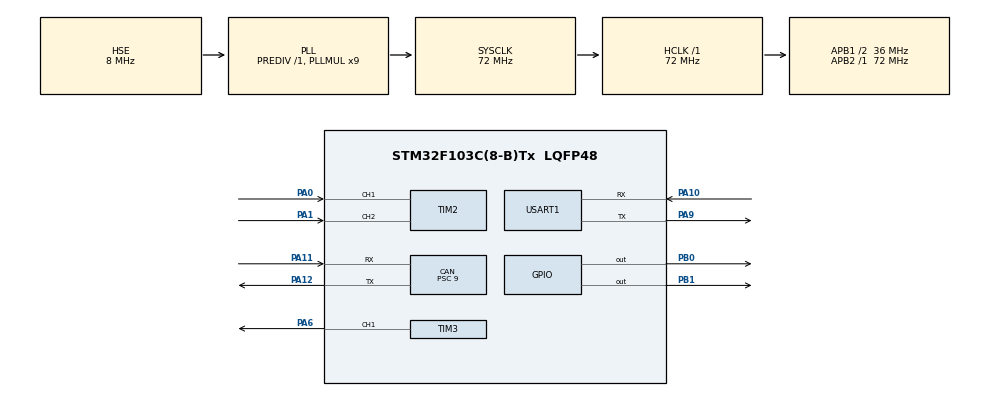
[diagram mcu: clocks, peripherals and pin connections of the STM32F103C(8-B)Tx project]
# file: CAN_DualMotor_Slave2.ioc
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CAN.ABOM=ENABLE
CAN.BS1=CAN_BS1_6TQ
CAN.CalculateBaudRate=500000
CAN.CalculateTimeBit=2000
CAN.CalculateTimeQuantum=250.0
CAN.NART=ENABLE
CAN.Prescaler=9
Mcu.Family=STM32F1
Mcu.Name=STM32F103C(8-B)Tx
Mcu.Package=LQFP48
NVIC.PriorityGroup=NVIC_PRIORITYGROUP_4
NVIC.TIM4_IRQn=true\:1\:0\:true\:false\:true\:true\:true\:true
NVIC.USART1_IRQn=true\:0\:0\:false\:false\:true\:true\:true\:true
NVIC.USB_LP_CAN1_RX0_IRQn=true\:0\:0\:false\:false\:true\:true\:true\:true
PA0-WKUP.Signal=S_TIM2_CH1_ETR
PA1.Signal=S_TIM2_CH2
PA10.Mode=Asynchronous
PA10.Signal=USART1_RX
PA11.Mode=CAN_Activate
PA11.Signal=CAN_RX
PA12.Mode=CAN_Activate
PA12.Signal=CAN_TX
PA13.Mode=Serial_Wire
PA13.Signal=SYS_JTMS-SWDIO
PA14.Mode=Serial_Wire
PA14.Signal=SYS_JTCK-SWCLK
PA6.Signal=S_TIM3_CH1
PA9.Mode=Asynchronous
PA9.Signal=USART1_TX
PB0.Signal=GPIO_Output
PB1.Signal=GPIO_Output
PD0-OSC_IN.Mode=HSE-External-Oscillator
PD0-OSC_IN.Signal=RCC_OSC_IN
PD1-OSC_OUT.Mode=HSE-External-Oscillator
PD1-OSC_OUT.Signal=RCC_OSC_OUT
ProjectManager.HeapSize=0x200
ProjectManager.StackSize=0x400
ProjectManager.TargetToolchain=MDK-ARM V5.32
RCC.AHBFreq_Value=72000000
RCC.APB1CLKDivider=RCC_HCLK_DIV2
RCC.APB1Freq_Value=36000000
RCC.APB1TimFreq_Value=72000000
RCC.APB2Freq_Value=72000000
RCC.APB2TimFreq_Value=72000000
RCC.HCLKFreq_Value=72000000
RCC.PLLMUL=RCC_PLL_MUL9
RCC.PLLSourceVirtual=RCC_PLLSOURCE_HSE
RCC.SYSCLKFreq_VALUE=72000000
RCC.SYSCLKSource=RCC_SYSCLKSOURCE_PLLCLK
RCC.USBFreq_Value=72000000
SH.S_TIM2_CH1_ETR.0=TIM2_CH1,Encoder_Interface
SH.S_TIM2_CH2.0=TIM2_CH2,Encoder_Interface
SH.S_TIM3_CH1.0=TIM3_CH1,PWM Generation1 CH1
TIM2.EncoderMode=TIM_ENCODERMODE_TI12
TIM2.IC1Filter=6
TIM2.IC2Filter=6
TIM3.Channel-PWM\ Generation1\ CH1=TIM_CHANNEL_1
TIM3.Period=3599
TIM4.Period=99
TIM4.Prescaler=7199
USART1.VirtualMode=VM_ASYNC
VP_TIM4_VS_ClockSourceINT.Mode=Internal
board=custom

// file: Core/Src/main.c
/* USER CODE BEGIN Header */
/**
  ******************************************************************************
  * @file           : main.c
  * @brief          : Main program body
  ******************************************************************************
  * @attention
  *
  * Copyright (c) 2026 STMicroelectronics.
  * All rights reserved.
  *
  * This software is licensed under terms that can be found in the LICENSE file
  * in the root directory of this software component.
  * If no LICENSE file comes with this software, it is provided AS-IS.
  *
  ******************************************************************************
  */
/* USER CODE END Header */
#include "main.h"
#include "can.h"
#include "tim.h"
#include "usart.h"
#include "gpio.h"

/* USER CODE BEGIN Includes */
#include "Bsp_Can.h"
#include "can_protocol.h"
#include "App.h"
#include "Encoder.h"
#include "motor_control.h"
/* USER CODE END Includes */

/* USER CODE BEGIN PV */
Can_Frame_t frame;

Can_MotorCommand_t received_cmd;
Can_MotorStatus_t test_status;

uint32_t cmd_count = 0;

volatile uint8_t debug_tx_ok = 0;
volatile uint32_t debug_can_error = 0;

volatile uint8_t debug_lec = 0;
volatile uint8_t debug_tec = 0;
volatile uint8_t debug_free_mailbox = 0;

uint8_t test_data = 0x01;

/* USER CODE END PV */

void SystemClock_Config(void);

int main(void)
{

  /* MCU Configuration--------------------------------------------------------*/

  /* Reset of all peripherals, Initializes the Flash interface and the Systick. */
  HAL_Init();

  /* Configure the system clock */
  SystemClock_Config();

  /* Initialize all configured peripherals */
  MX_GPIO_Init();
  MX_CAN_Init();
  MX_TIM2_Init();
  MX_TIM3_Init();
  MX_TIM4_Init();
  MX_USART1_UART_Init();
  /* USER CODE BEGIN 2 */
	Can_Init();

	App_Init();
HAL_TIM_Base_Start_IT(&htim4);

  /* USER CODE END 2 */

  /* Infinite loop */
  while (1)
  {

    /* USER CODE BEGIN 3 */
		 App_Task();

	}
  /* USER CODE END 3 */
}

void SystemClock_Config(void)
{
  RCC_OscInitTypeDef RCC_OscInitStruct = {0};
  RCC_ClkInitTypeDef RCC_ClkInitStruct = {0};

  /** Initializes the RCC Oscillators according to the specified parameters
  * in the RCC_OscInitTypeDef structure.
  */
  RCC_OscInitStruct.OscillatorType = RCC_OSCILLATORTYPE_HSE;
  RCC_OscInitStruct.HSEState = RCC_HSE_ON;
  RCC_OscInitStruct.HSEPredivValue = RCC_HSE_PREDIV_DIV1;
  RCC_OscInitStruct.HSIState = RCC_HSI_ON;
  RCC_OscInitStruct.PLL.PLLState = RCC_PLL_ON;
  RCC_OscInitStruct.PLL.PLLSource = RCC_PLLSOURCE_HSE;
  RCC_OscInitStruct.PLL.PLLMUL = RCC_PLL_MUL9;
  if (HAL_RCC_OscConfig(&RCC_OscInitStruct) != HAL_OK)
  {
    Error_Handler();
  }

  /** Initializes the CPU, AHB and APB buses clocks
  */
  RCC_ClkInitStruct.ClockType = RCC_CLOCKTYPE_HCLK|RCC_CLOCKTYPE_SYSCLK
                              |RCC_CLOCKTYPE_PCLK1|RCC_CLOCKTYPE_PCLK2;
  RCC_ClkInitStruct.SYSCLKSource = RCC_SYSCLKSOURCE_PLLCLK;
  RCC_ClkInitStruct.AHBCLKDivider = RCC_SYSCLK_DIV1;
  RCC_ClkInitStruct.APB1CLKDivider = RCC_HCLK_DIV2;
  RCC_ClkInitStruct.APB2CLKDivider = RCC_HCLK_DIV1;

  if (HAL_RCC_ClockConfig(&RCC_ClkInitStruct, FLASH_LATENCY_2) != HAL_OK)
  {
    Error_Handler();
  }
}

/* USER CODE BEGIN 4 */
void HAL_TIM_PeriodElapsedCallback(
    TIM_HandleTypeDef *htim)
{
    if (htim->Instance == TIM4)
    {
        MotorControl_Update();
    }
}
/* USER CODE END 4 */

void Error_Handler(void)
{
  __disable_irq();
  while (1)
  {
  }
}
